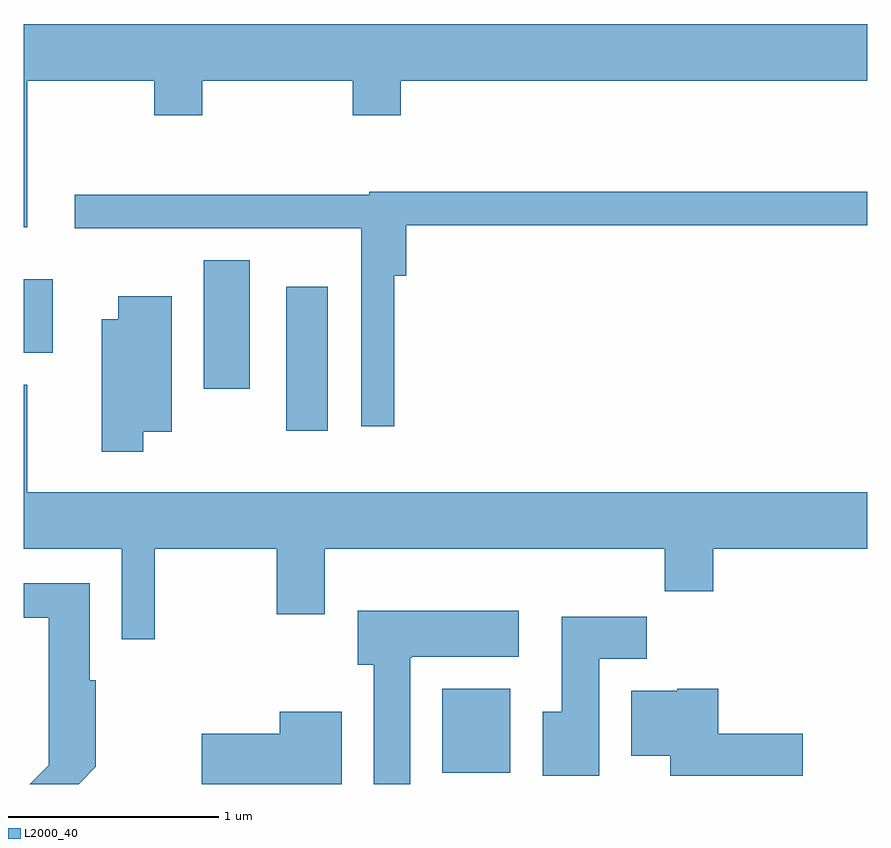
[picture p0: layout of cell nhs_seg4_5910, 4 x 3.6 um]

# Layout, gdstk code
import gdstk
lib = gdstk.Library(unit=1e-6, precision=1e-09)
def R(c, l, rs):  # rectangles x0, y0, x1, y1
    for r in rs: c.add(gdstk.rectangle(r[:2], r[2:], *l))
def P(c, l, *ps):  # polygons
    for p in ps: c.add(gdstk.Polygon(p, *l))
L2000_40 = (2000, 40)

nhs_seg4_5910 = lib.new_cell('nhs_seg4_5910')
R(nhs_seg4_5910, L2000_40, [(359.596,1378.036,359.919,1378.434), (358.856,1379.656,359.054,1380.339), (358.466,1379.856,358.684,1380.464), (357.611,1380.026,357.749,1380.374)])
P(nhs_seg4_5910, L2000_40, [(357.629,1381.316),(358.231,1381.316),(358.231,1381.151),(358.459,1381.151),(358.459,1381.316),(359.171,1381.316),(359.171,1381.151),(359.399,1381.151),(359.399,1381.316),(361.611,1381.316),(361.611,1381.584),(357.611,1381.584),(357.611,1380.621),(357.629,1380.621)],
  [(359.369,1380.391),(359.424,1380.391),(359.424,1380.631),(361.611,1380.631),(361.611,1380.789),(359.25,1380.789),(359.25,1380.774),(357.853,1380.774),(357.853,1380.616),(359.211,1380.616),(359.211,1379.678),(359.369,1379.678)],
  [(358.179,1379.651),(358.314,1379.651),(358.314,1380.294),(358.061,1380.294),(358.061,1380.184),(357.981,1380.184),(357.981,1379.556),(358.179,1379.556)],
  [(358.234,1379.096),(358.811,1379.096),(358.811,1378.786),(359.039,1378.786),(359.039,1379.096),(360.651,1379.096),(360.651,1378.896),(360.879,1378.896),(360.879,1379.096),(361.611,1379.096),(361.611,1379.364),(357.629,1379.364),(357.629,1379.874),(357.611,1379.874),(357.611,1379.096),(358.076,1379.096),(358.076,1378.668),(358.234,1378.668)],
  [(357.954,1378.064),(357.954,1378.474),(357.924,1378.474),(357.924,1378.934),(357.611,1378.934),(357.611,1378.771),(357.731,1378.771),(357.731,1378.072),(357.641,1377.982),(357.872,1377.982)],
  [(359.444,1378.58),(359.45,1378.58),(359.45,1378.586),(359.959,1378.586),(359.959,1378.804),(359.196,1378.804),(359.196,1378.546),(359.271,1378.546),(359.271,1377.982),(359.444,1377.982)],
  [(360.339,1378.576),(360.564,1378.576),(360.564,1378.774),(360.161,1378.774),(360.161,1378.324),(360.071,1378.324),(360.071,1378.021),(360.339,1378.021)],
  [(361.304,1378.219),(360.904,1378.219),(360.904,1378.434),(360.71,1378.434),(360.71,1378.424),(360.491,1378.424),(360.491,1378.116),(360.676,1378.116),(360.676,1378.021),(361.304,1378.021)],
  [(359.119,1378.324),(358.826,1378.324),(358.826,1378.219),(358.456,1378.219),(358.456,1377.982),(359.119,1377.982)])

lib.write_gds('nhs_seg4_5910.gds')
